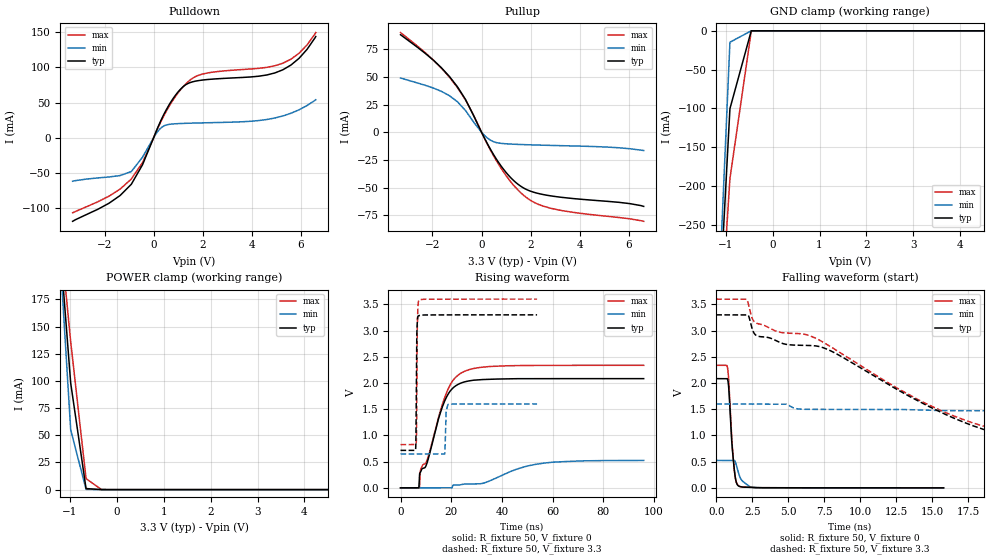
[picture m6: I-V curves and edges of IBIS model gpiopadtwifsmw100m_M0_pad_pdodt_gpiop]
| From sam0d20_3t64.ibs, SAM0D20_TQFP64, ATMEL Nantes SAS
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|   MODEL : gpiopadtwifsmw100m_M0_pad_pdodt_gpiop
[Model] gpiopadtwifsmw100m_M0_pad_pdodt_gpiop
Model_type I/O
Vinl  =  0.99
Vinh  =  2.31
Vmeas =  1.650
| Capacitance   typ   min   max
C_comp   1.31351p   1.29988p   1.37026p
| Variables   typ   min   max
[GND Clamp Reference]   0   0   0
[POWER Clamp Reference]   3.3   1.6   3.6
[Pulldown Reference]   0   0   0
[Pullup Reference]   3.3   1.6   3.6
[Temperature Range]   25   -40   105
[Voltage Range]   3.3   1.6   3.6
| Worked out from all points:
|   slope of the pulldown table from 0 to 0.495 V, typ, clamps not added: 12.9 ohm
|   slope of the pullup table from 0 to 0.495 V, typ, clamps not added: 24.3 ohm
|   falling waveform, R_fixture 50, V_fixture 0: 20-80 % time 307ps typ, 516ps min, 307ps max; typ from 2.08 V to 0 V
|   falling waveform, R_fixture 50, V_fixture 3.3: 20-80 % time 13ns typ, 35.1ns min, 12.7ns max; typ from 3.3 V to 0.715 V
|   rising waveform, R_fixture 50, V_fixture 0: 20-80 % time 7.5ns typ, 16.6ns min, 8.78ns max; typ from 0 V to 2.08 V
|   rising waveform, R_fixture 50, V_fixture 3.3: 20-80 % time 225ps typ, 322ps min, 230ps max; typ from 0.715 V to 3.3 V
[GND Clamp]
| Voltage   I(typ)   I(min)   I(max)
-3.3V     -2.838A    -3.437A    -2.475A
-1.364V   -617mA     -642.7mA   -618.8mA
-909.1mV  -100.4mA   -14.7mA    -190.6mA
-454.5mV  -23.83uA   -258.7nA   -415.3uA
6.6V      0A         0A         0A
[POWER Clamp]
| Voltage   I(typ)   I(min)   I(max)
-3.3V     1.745A     2.097A     1.488A
-1.309V   280.3mA    286mA      281.8mA
-981.8mV  98.06mA    55.04mA    136.1mA
-654.5mV  963.1uA    216.9uA    10.07mA
-327.3mV  1.355uA    8.424nA    98.08uA
6.6V      0A         0A         0A
[Pulldown]
| Voltage   I(typ)   I(min)   I(max)
-3.3V     -119mA     -61.98mA   -107mA
-1.818V   -93.33mA   -55.91mA   -83.28mA
-909.1mV  -66.28mA   -48.18mA   -58.8mA
-454.5mV  -38.59mA   -27.85mA   -35.52mA
309.4mV   25.56mA    14.14mA    23.9mA
773.4mV   54.8mA     19.53mA    52.8mA
1.238V    73.69mA    20.38mA    73.94mA
1.598V    79.67mA    20.77mA    84.92mA
2.062V    82.36mA    21.18mA    91.19mA
4.936V    92.21mA    28.04mA    102.4mA
5.918V    113mA      39.7mA     120.2mA
6.6V      144.1mA    54mA       149.7mA
[Pullup]
| Voltage   I(typ)   I(min)   I(max)
-3.3V     88.24mA    49.15mA    90.19mA
-1.964V   65.21mA    40.03mA    65.35mA
-981.8mV  41.15mA    27.61mA    40.42mA
-654.5mV  29.72mA    19.7mA     29.25mA
-327.3mV  15.24mA    9.418mA    15.62mA
51.56mV   -2.336mA   -1.279mA   -2.314mA
360.9mV   -15.31mA   -7.05mA    -16.02mA
1.083V    -38.48mA   -10.47mA   -41.7mA
1.805V    -51.42mA   -11.17mA   -58.57mA
2.32V     -55.33mA   -11.52mA   -65.17mA
3.042V    -58.15mA   -11.95mA   -69.75mA
6.6V      -66.94mA   -16.45mA   -80.43mA
[Ramp]
dV/dt_r   1.24997/7.50044n  0.313956/16.6159n  1.40233/8.78082n
dV/dt_f   1.55088/13.0343n  0.571757/35.1005n  1.66516/12.6893n
R_load = 50
[Falling Waveform]
R_fixture = 50
V_fixture = 0
V_fixture_min = 0
V_fixture_max = 0
| Time   V(typ)   V(min)   V(max)
0s        2.083V     523.3mV    2.337V
782.5ps   2.073V     522.9mV    2.287V
872.2ps   1.878V     522.6mV    2.014V
1.049ns   986.2mV    522.6mV    1.045V
1.231ns   400.3mV    522.6mV    394.6mV
1.37ns    127.5mV    456.1mV    132.1mV
1.565ns   33.97mV    264.5mV    35.28mV
1.868ns   14.24mV    117.2mV    14.92mV
2.603ns   6.827mV    5.849mV    6.595mV
15.79ns   202.5uV    372.7uV    467.9uV
[Falling Waveform]
R_fixture = 50
V_fixture = 3.3
V_fixture_min = 1.6
V_fixture_max = 3.6
| Time   V(typ)   V(min)   V(max)
0s        3.3V       1.6V       3.6V
2.084ns   3.298V     1.599V     3.598V
2.471ns   3.054V     1.599V     3.25V
2.766ns   2.909V     1.599V     3.143V
7.635ns   2.652V     1.497V     2.744V
16.46ns   1.335V     1.472V     1.375V
20.53ns   971.4mV    1.47V      1.06V
25.47ns   821mV      1.469V     932.6mV
82.01ns   715.6mV    743.2mV    825mV
184.3ns   715.2mV    647.5mV    824.8mV
[Rising Waveform]
R_fixture = 50
V_fixture = 0
V_fixture_min = 0
V_fixture_max = 0
| Time   V(typ)   V(min)   V(max)
0s        2.337nV    1.356nV    231nV
7.202ns   13.11uV    1.356nV    4.78uV
7.446ns   236.7mV    1.356nV    439.5uV
7.88ns    300mV      1.356nV    337.5mV
10.24ns   442.6mV    1.356nV    501.1mV
15.15ns   1.342V     1.356nV    1.369V
17.92ns   1.709V     1.356nV    1.786V
24.72ns   2.014V     68.88mV    2.211V
56.81ns   2.083V     473.3mV    2.336V
95.98ns   2.083V     522.9mV    2.337V
[Rising Waveform]
R_fixture = 50
V_fixture = 3.3
V_fixture_min = 1.6
V_fixture_max = 3.6
| Time   V(typ)   V(min)   V(max)
0s        715.2mV    647.1mV    824.7mV
5.911ns   717.7mV    647.2mV    824.7mV
6.171ns   1.553V     647.2mV    845.8mV
6.328ns   2.693V     647.3mV    1.067V
6.62ns    3.157V     647.3mV    3.072V
7.244ns   3.282V     647.3mV    3.578V
17.48ns   3.299V     647.6mV    3.599V
17.95ns   3.299V     1.414V     3.599V
18.87ns   3.3V       1.593V     3.599V
53.9ns    3.3V       1.6V       3.6V
[Add Submodel]
| Submodel Name Mode
M0_pad_pdodt_gpiop_T Non-Driving
